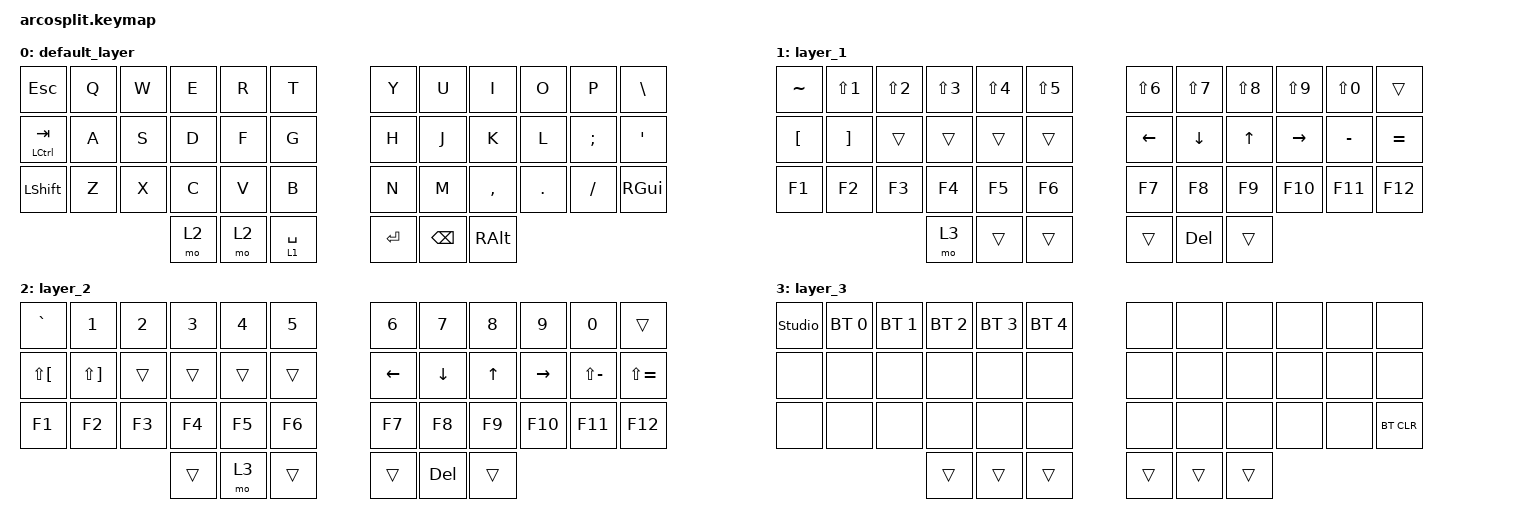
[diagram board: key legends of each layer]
/*
 * Copyright (c) 2021 The ZMK Contributors
 *
 * SPDX-License-Identifier: MIT
 */

#include <behaviors.dtsi>
#include <dt-bindings/zmk/bt.h>
#include <dt-bindings/zmk/keys.h>

#define L1 1
#define L2 2
#define L3 3

/ {
    behaviors {
        ht_tp: hold_tap_tap_preferred {
            compatible = "zmk,behavior-hold-tap";
            label = "HOLD_TAP_TAP_PREFERRSED";
            #binding-cells = <2>;
            flavor = "tap-preferred";
            tapping-term-ms = <200>;
            quick-tap-ms = <0>;
            bindings = <&kp>, <&kp>;
        };
    };

    keymap {
        compatible = "zmk,keymap";

        default_layer {
            bindings = <
&kp ESC        &kp Q  &kp W  &kp E     &kp R     &kp T         &kp Y         &kp U    &kp I      &kp O    &kp P      &kp BACKSLASH
&mt LCTRL TAB  &kp A  &kp S  &kp D     &kp F     &kp G         &kp H         &kp J    &kp K      &kp L    &kp SEMI   &kp SQT
&kp LSHFT      &kp Z  &kp X  &kp C     &kp V     &kp B         &kp N         &kp M    &kp COMMA  &kp DOT  &kp FSLH   &kp RGUI
                             &mo 2     &mo 2     &lt 1 SPACE  &kp ENTER     &kp BSPC &kp RALT
            >;
        };

        layer_1 {
            bindings = <
&kp TILDE         &kp LS(NUMBER_1)   &kp LS(NUMBER_2)  &kp LS(N3)  &kp LS(N4)  &kp LS(N5)  &kp LS(N6)   &kp LS(N7)     &kp LS(N8)        &kp LS(N9)         &kp LS(N0)     &trans
&kp LEFT_BRACKET  &kp RIGHT_BRACKET  &trans            &trans      &trans      &trans      &kp LEFT     &kp DOWN       &kp UP_ARROW      &kp RIGHT          &kp MINUS      &kp EQUAL
&kp F1            &kp F2             &kp F3            &kp F4      &kp F5      &kp F6      &kp F7       &kp F8         &kp F9            &kp F10            &kp F11        &kp F12
                                     &mo 3             &trans      &trans      &trans      &kp DEL      &trans
            >;
        };

        layer_2 {
            bindings = <
&kp GRAVE             &kp NUMBER_1           &kp NUMBER_2   &kp N3   &kp N4   &kp N5  &kp N6    &kp N7    &kp N8         &kp N9     &kp N0         &trans
&kp LS(LEFT_BRACKET)  &kp LS(RIGHT_BRACKET)  &trans         &trans   &trans   &trans  &kp LEFT  &kp DOWN  &kp UP_ARROW   &kp RIGHT  &kp LS(MINUS)  &kp LS(EQUAL)
&kp F1                &kp F2                 &kp F3         &kp F4   &kp F5   &kp F6  &kp F7    &kp F8    &kp F9         &kp F10    &kp F11        &kp F12
                      &trans                 &mo 3          &trans   &trans   &kp DEL    &trans
            >;
        };

        layer_3 {
            bindings = <
&studio_unlock  &bt BT_SEL 0  &bt BT_SEL 1  &bt BT_SEL 2  &bt BT_SEL 3  &bt BT_SEL 4  &none   &none   &none   &none  &none  &none
&none           &none         &none         &none         &none         &none         &none   &none   &none   &none  &none  &none
&none           &none         &none         &none         &none         &none         &none   &none   &none   &none  &none  &bt BT_CLR
                                            &trans        &trans        &trans        &trans  &trans  &trans
            >;
        };
    };
};
